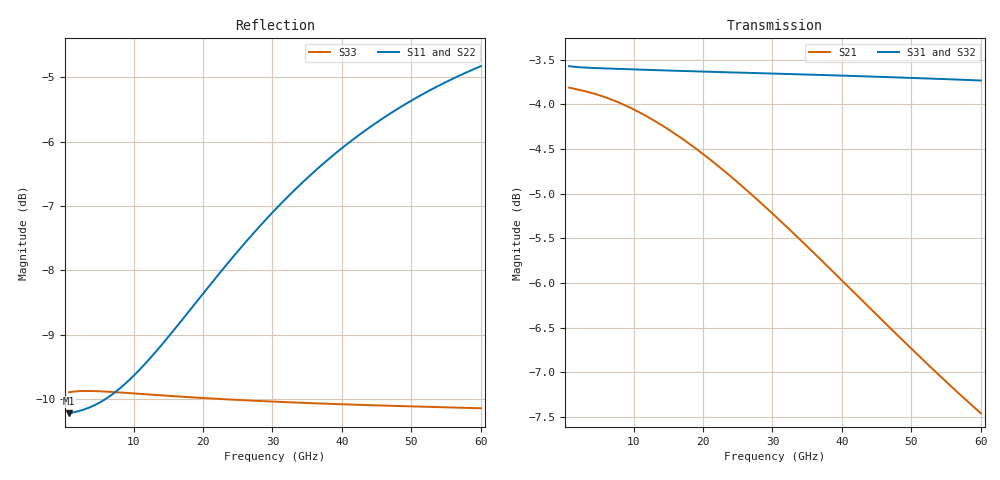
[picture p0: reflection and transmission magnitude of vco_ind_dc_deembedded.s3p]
! Created with skrf 2.1.0 (http://scikit-rf.org).
# GHz S DB R 50.0
!freq dBS11 angS11 dBS12 angS12 dBS13 angS13
! dBS21 angS21 dBS22 angS22 dBS23 angS23
! dBS31 angS31 dBS32 angS32 dBS33 angS33
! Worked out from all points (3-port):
!   82 points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, 731.7 MHz to 60 GHz, reference 50 ohm
!   strongest paths, dB at 731.7 MHz, 15.37 GHz, 30.73 GHz, 45.37 GHz, 60 GHz:
!     S31: -3.6, -3.6, -3.7, -3.7, -3.7
!     S32: -3.7, -3.7, -3.8, -3.8, -3.8
!     S21: -3.8, -4.3, -5.3, -6.4, -7.5
!   lowest |S11| = -10.2 dB at 731.7 MHz (marker M1), VSWR 1.89, Z = 26.4 + j0.934 ohm
!   |S11| at or under -10 dB: start of sweep to 5.922 GHz
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0.7317073  -10.22 177.0  -3.81 -1.5  -3.57 -0.3
           -3.81 -1.5  -10.39 177.0  -3.65 -0.3
           -3.57 -0.3  -3.65 -0.3  -9.89 179.6
4.390244  -10.09 162.1  -3.88 -8.8  -3.59 -1.4
          -3.88 -8.8  -10.25 161.6  -3.67 -1.5
          -3.59 -1.4  -3.67 -1.5  -9.87 177.3
8.04878  -9.83 147.9  -3.99 -15.9  -3.60 -2.5
         -3.99 -15.9  -9.96 147.2  -3.69 -2.6
         -3.60 -2.5  -3.69 -2.6  -9.89 175.1
16.09756  -8.89 120.9  -4.34 -31.0  -3.63 -4.8
          -4.34 -31.0  -8.94 119.8  -3.71 -5.0
          -3.63 -4.8  -3.71 -5.0  -9.95 170.4
23.41463  -7.91 101.2  -4.77 -44.0  -3.64 -6.9
          -4.77 -44.0  -7.90 100.0  -3.74 -7.2
          -3.64 -6.9  -3.74 -7.2  -10.00 166.4
30.73171  -7.02 85.2  -5.28 -56.5  -3.66 -9.1
          -5.28 -56.5  -6.98 84.0  -3.76 -9.4
          -3.66 -9.1  -3.76 -9.4  -10.04 162.5
37.31707  -6.34 73.1  -5.77 -67.2  -3.67 -11.0
          -5.77 -67.2  -6.28 72.0  -3.78 -11.4
          -3.67 -11.0  -3.78 -11.4  -10.07 159.1
43.90244  -5.78 62.7  -6.27 -77.5  -3.69 -13.0
          -6.27 -77.5  -5.71 61.7  -3.80 -13.3
          -3.69 -13.0  -3.80 -13.3  -10.09 155.7
51.21951  -5.29 52.7  -6.83 -88.5  -3.71 -15.2
          -6.83 -88.5  -5.21 51.7  -3.82 -15.6
          -3.71 -15.2  -3.82 -15.6  -10.11 152.1
60  -4.83 42.2  -7.46 -101.2  -3.73 -17.9
    -7.46 -101.2  -4.75 41.1  -3.84 -18.3
    -3.73 -17.9  -3.84 -18.3  -10.14 147.8
